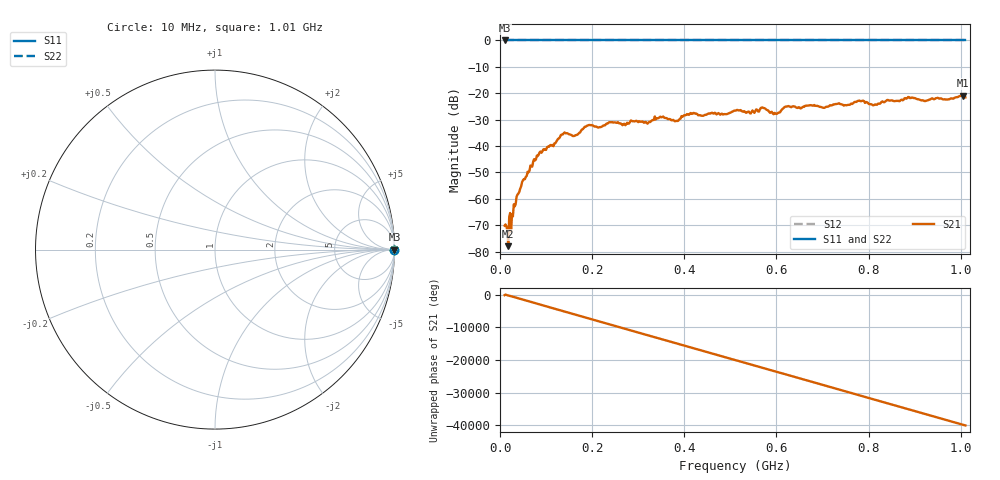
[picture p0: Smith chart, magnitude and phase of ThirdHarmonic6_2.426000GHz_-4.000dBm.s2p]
! 8/17/2025 4:10:06 AM
! C:\ANRITSUVNA\TEMP\TEMP.S2P
! CHANNEL.1
! TR.MEASUREMENT
! RAW.DATA
! RF.CORRECTION.OFF
! AVERAGING.OFF
! IF.BANDWIDTH: 5KHZ
! SWEEPTYPE:  FREQ.SWEEP(Linear)
! Reference Plane Port Info
! PORT:  PORT1  PORT2
! DISTANCE:  0  m  0  m
! TIME:  0  s  0  s
! PHASE.OFFSET:  0  deg.  0  deg.
! LOSS:  0  dB  0  dB
! REF.LOSS:  0  dB  0  dB
! REF.FREQ:  0  Hz  0  Hz
! Power Info
! POWER:  -20  dBm  -20  dBm
! EFF.POWER:  -20  dBm  -20  dBm
! SOURCE.ATTEN:  0  dB  0  dB
! TEST.ATTEN:  0  dB  0  dB
# GHZ S RI R 50.0
! FREQ.GHZ  S11RE  S11IM  S21RE  S21IM  S12RE  S12IM  S22RE  S22IM
!; PortSelection: Port_12
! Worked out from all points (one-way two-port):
!   501 points, 10 MHz to 1.01 GHz, reference 50 ohm
!   highest |S21| = -20.87 dB at 1.004 GHz (marker M1); lowest = -77.9 dB at 18 MHz (marker M2)
!   lowest |S11| = 0.0 dB at 10 MHz (marker M3)
!   |S11| at or under -10 dB: nowhere
!   |S22| runs from 0.0 to 0.0 dB; largest |S21 - S12| = 1.1
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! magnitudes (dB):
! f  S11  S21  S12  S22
! 10 MHz  0.0  -70.2  0.0  0.0
! 14 MHz  0.0  -70.4  0.0  0.0
! 18 MHz  0.0  -77.9  0.0  0.0
! 20 MHz  0.0  -66.9  0.0  0.0
! 34 MHz  0.0  -62.0  0.0  0.0
! 48 MHz  0.0  -53.6  0.0  0.0
! 84 MHz  0.0  -43.2  0.0  0.0
! 136 MHz  0.0  -35.6  0.0  0.0
! 162 MHz  0.0  -36.1  0.0  0.0
! 178 MHz  0.0  -33.7  0.0  0.0
! 344 MHz  0.0  -29.4  0.0  0.0
! 382 MHz  0.0  -30.5  0.0  0.0
! 416 MHz  0.0  -27.8  0.0  0.0
! 510 MHz  0.0  -26.6  0.0  0.0
! 570 MHz  0.0  -25.4  0.0  0.0
! 598 MHz  0.0  -27.6  0.0  0.0
! 622 MHz  0.0  -25.0  0.0  0.0
! 678 MHz  0.0  -24.7  0.0  0.0
! 814 MHz  0.0  -24.2  0.0  0.0
! 844 MHz  0.0  -22.7  0.0  0.0
! 1.004 GHz  0.0  -20.9  0.0  0.0
! 1.01 GHz  0.0  -21.6  0.0  0.0
